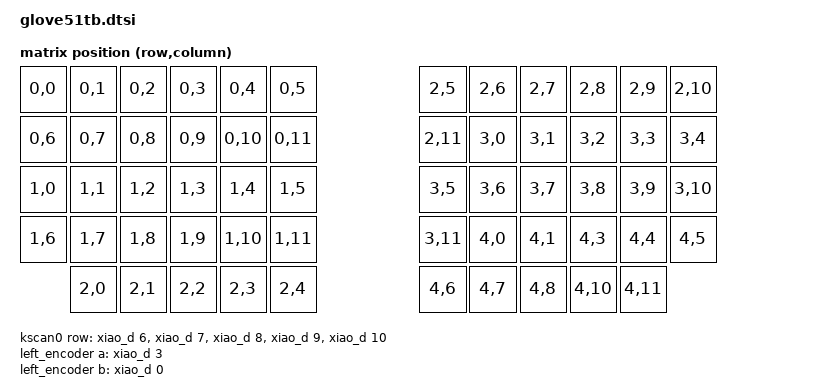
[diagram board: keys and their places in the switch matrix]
#include <dt-bindings/zmk/matrix_transform.h>
#include <physical_layouts.dtsi>

/ {
    chosen {
        zmk,physical-layout = &glove51tb_physical_layout;
    };

    glove51tb_physical_layout: glove51tb_physical_layout {
        compatible = "zmk,physical-layout";
        display-name = "Default";
        transform = <&default_transform>;
        kscan = <&kscan0>;

        // ZMK Studio等で表示される物理的なキー座標（ダミーデータ）
        // 合計58キーに合わせて数を調整しています。後でGUIで正確な位置に直せます。
        keys
            // 左手 (29キー)
            = <&key_physical_attrs 100 100    0    0 0 0 0>
            , <&key_physical_attrs 100 100  100    0 0 0 0>
            , <&key_physical_attrs 100 100  200    0 0 0 0>
            , <&key_physical_attrs 100 100  300    0 0 0 0>
            , <&key_physical_attrs 100 100  400    0 0 0 0>
            , <&key_physical_attrs 100 100  500    0 0 0 0>

            , <&key_physical_attrs 100 100    0  100 0 0 0>
            , <&key_physical_attrs 100 100  100  100 0 0 0>
            , <&key_physical_attrs 100 100  200  100 0 0 0>
            , <&key_physical_attrs 100 100  300  100 0 0 0>
            , <&key_physical_attrs 100 100  400  100 0 0 0>
            , <&key_physical_attrs 100 100  500  100 0 0 0>

            , <&key_physical_attrs 100 100    0  200 0 0 0>
            , <&key_physical_attrs 100 100  100  200 0 0 0>
            , <&key_physical_attrs 100 100  200  200 0 0 0>
            , <&key_physical_attrs 100 100  300  200 0 0 0>
            , <&key_physical_attrs 100 100  400  200 0 0 0>
            , <&key_physical_attrs 100 100  500  200 0 0 0>

            , <&key_physical_attrs 100 100    0  300 0 0 0>
            , <&key_physical_attrs 100 100  100  300 0 0 0>
            , <&key_physical_attrs 100 100  200  300 0 0 0>
            , <&key_physical_attrs 100 100  300  300 0 0 0>
            , <&key_physical_attrs 100 100  400  300 0 0 0>
            , <&key_physical_attrs 100 100  500  300 0 0 0>

            , <&key_physical_attrs 100 100  100  400 0 0 0>
            , <&key_physical_attrs 100 100  200  400 0 0 0>
            , <&key_physical_attrs 100 100  300  400 0 0 0>
            , <&key_physical_attrs 100 100  400  400 0 0 0>
            , <&key_physical_attrs 100 100  500  400 0 0 0>

            // 右手 (29キー)
            , <&key_physical_attrs 100 100  800    0 0 0 0>
            , <&key_physical_attrs 100 100  900    0 0 0 0>
            , <&key_physical_attrs 100 100 1000    0 0 0 0>
            , <&key_physical_attrs 100 100 1100    0 0 0 0>
            , <&key_physical_attrs 100 100 1200    0 0 0 0>
            , <&key_physical_attrs 100 100 1300    0 0 0 0>

            , <&key_physical_attrs 100 100  800  100 0 0 0>
            , <&key_physical_attrs 100 100  900  100 0 0 0>
            , <&key_physical_attrs 100 100 1000  100 0 0 0>
            , <&key_physical_attrs 100 100 1100  100 0 0 0>
            , <&key_physical_attrs 100 100 1200  100 0 0 0>
            , <&key_physical_attrs 100 100 1300  100 0 0 0>

            , <&key_physical_attrs 100 100  800  200 0 0 0>
            , <&key_physical_attrs 100 100  900  200 0 0 0>
            , <&key_physical_attrs 100 100 1000  200 0 0 0>
            , <&key_physical_attrs 100 100 1100  200 0 0 0>
            , <&key_physical_attrs 100 100 1200  200 0 0 0>
            , <&key_physical_attrs 100 100 1300  200 0 0 0>

            , <&key_physical_attrs 100 100  800  300 0 0 0>
            , <&key_physical_attrs 100 100  900  300 0 0 0>
            , <&key_physical_attrs 100 100 1000  300 0 0 0>
            , <&key_physical_attrs 100 100 1100  300 0 0 0>
            , <&key_physical_attrs 100 100 1200  300 0 0 0>
            , <&key_physical_attrs 100 100 1300  300 0 0 0>

            , <&key_physical_attrs 100 100  800  400 0 0 0>
            , <&key_physical_attrs 100 100  900  400 0 0 0>
            , <&key_physical_attrs 100 100 1000  400 0 0 0>
            , <&key_physical_attrs 100 100 1100  400 0 0 0>
            , <&key_physical_attrs 100 100 1200  400 0 0 0>
            ;
    };

    default_transform: keymap_transform_0 {
        compatible = "zmk,matrix-transform";
        columns = <12>; // 左6列 ＋ 右6列 ＝ 12列
        rows = <5>;     // 5行

        // マトリックス(RC)とキーマップの変換表
        // ※ 5行×6列＝30キーのうち、片側29キーということは1キー空きがあります。
        // ※ 仮で「最下段の一番外側」を抜いた配置にしています。ご自身の基板の配線に合わせて微調整してください。
        map = <
            RC(0,0) RC(0,1) RC(0,2) RC(0,3) RC(0,4) RC(0,5)     RC(0,6) RC(0,7) RC(0,8) RC(0,9) RC(0,10) RC(0,11)
            RC(1,0) RC(1,1) RC(1,2) RC(1,3) RC(1,4) RC(1,5)     RC(1,6) RC(1,7) RC(1,8) RC(1,9) RC(1,10) RC(1,11)
            RC(2,0) RC(2,1) RC(2,2) RC(2,3) RC(2,4) RC(2,5)     RC(2,6) RC(2,7) RC(2,8) RC(2,9) RC(2,10) RC(2,11)
            RC(3,0) RC(3,1) RC(3,2) RC(3,3) RC(3,4) RC(3,5)     RC(3,6) RC(3,7) RC(3,8) RC(3,9) RC(3,10) RC(3,11)
            RC(4,0) RC(4,1)         RC(4,3) RC(4,4) RC(4,5)     RC(4,6) RC(4,7) RC(4,8)         RC(4,10) RC(4,11)
        >;
    };

    kscan0: kscan {
        compatible = "zmk,kscan-gpio-matrix";
        label = "KSCAN";
        diode-direction = "col2row"; // col2rowに変更

        // 左右共通のピン配置 (自作基板の回路図通り)
//        col-gpios
//            = <&xiao_d 0 GPIO_ACTIVE_HIGH>
//            , <&xiao_d 1 GPIO_ACTIVE_HIGH>
//            , <&xiao_d 2 GPIO_ACTIVE_HIGH>
//            , <&xiao_d 3 GPIO_ACTIVE_HIGH>
//            , <&xiao_d 4 GPIO_ACTIVE_HIGH>
//            , <&xiao_d 5 GPIO_ACTIVE_HIGH>
//            ;
        
        row-gpios
            = <&xiao_d 6 (GPIO_ACTIVE_HIGH | GPIO_PULL_DOWN)>
            , <&xiao_d 7 (GPIO_ACTIVE_HIGH | GPIO_PULL_DOWN)>
            , <&xiao_d 8 (GPIO_ACTIVE_HIGH | GPIO_PULL_DOWN)>
            , <&xiao_d 9 (GPIO_ACTIVE_HIGH | GPIO_PULL_DOWN)>
            , <&xiao_d 10 (GPIO_ACTIVE_HIGH | GPIO_PULL_DOWN)>
            ;
    };

    // --- 以下、既存のオプション機能（そのまま残します） ---
    left_encoder: encoder_left {
        compatible = "alps,ec11";
        a-gpios = <&xiao_d 3 (GPIO_ACTIVE_HIGH | GPIO_PULL_UP)>;
        b-gpios = <&xiao_d 0 (GPIO_ACTIVE_HIGH | GPIO_PULL_UP)>;
        steps = <24>;
        status = "disabled";
    };

    sensors: sensors {
        compatible = "zmk,keymap-sensors";
        sensors = <&left_encoder>;
        triggers-per-rotation = <8>;
    };

    trackball_listener: trackball_listener {
        compatible = "zmk,input-listener";
        status = "disabled";
    };
};

&spi0 {
    status = "disabled";

    trackball: trackball@0 {
        status = "disabled";
        reg = <0>;
    };
};

// Xiao LED
/ {
    leds {
        compatible = "gpio-leds";

        led_red: led_red {
            gpios = <&gpio0 26 GPIO_ACTIVE_LOW>;
            label = "LED RED";
        };
        led_green: led_green {
            gpios = <&gpio0 30 GPIO_ACTIVE_LOW>;
            label = "LED GREEN";
        };
        led_blue: led_blue {
            gpios = <&gpio0 6 GPIO_ACTIVE_LOW>;
            label = "LED BLUE";
        };
    };

    aliases {
        led-red = &led_red;
        led-green = &led_green;
        led-blue = &led_blue;
    };
};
